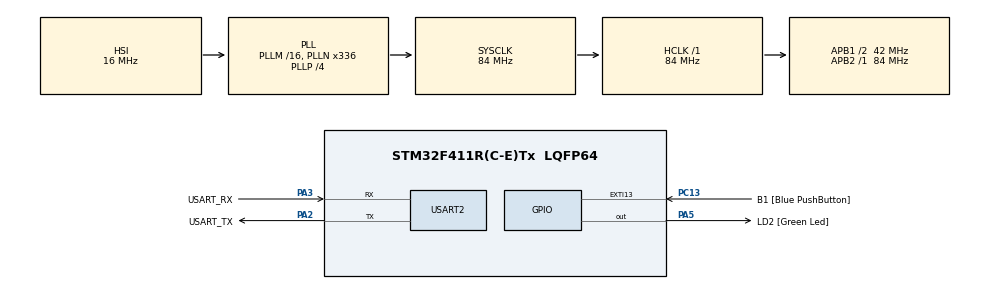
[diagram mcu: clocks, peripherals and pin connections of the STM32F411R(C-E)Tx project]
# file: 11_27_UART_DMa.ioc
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Dma.Request0=USART2_RX
Dma.USART2_RX.0.Direction=DMA_PERIPH_TO_MEMORY
Dma.USART2_RX.0.FIFOMode=DMA_FIFOMODE_DISABLE
Dma.USART2_RX.0.Instance=DMA1_Stream5
Dma.USART2_RX.0.MemDataAlignment=DMA_MDATAALIGN_BYTE
Dma.USART2_RX.0.MemInc=DMA_MINC_ENABLE
Dma.USART2_RX.0.Mode=DMA_CIRCULAR
Dma.USART2_RX.0.PeriphDataAlignment=DMA_PDATAALIGN_BYTE
Dma.USART2_RX.0.PeriphInc=DMA_PINC_DISABLE
Dma.USART2_RX.0.Priority=DMA_PRIORITY_LOW
Mcu.Family=STM32F4
Mcu.Name=STM32F411R(C-E)Tx
Mcu.Package=LQFP64
NVIC.DMA1_Stream5_IRQn=true\:0\:0\:false\:false\:true\:false\:true\:true
NVIC.PriorityGroup=NVIC_PRIORITYGROUP_0
PA13.GPIO_Label=TMS
PA13.Mode=Serial_Wire
PA13.Signal=SYS_JTMS-SWDIO
PA14.GPIO_Label=TCK
PA14.Mode=Serial_Wire
PA14.Signal=SYS_JTCK-SWCLK
PA2.GPIO_Label=USART_TX
PA2.Mode=Asynchronous
PA2.Signal=USART2_TX
PA3.GPIO_Label=USART_RX
PA3.Mode=Asynchronous
PA3.Signal=USART2_RX
PA5.GPIO_Label=LD2 [Green Led]
PA5.Signal=GPIO_Output
PB3.GPIO_Label=SWO
PB3.Signal=SYS_JTDO-SWO
PC13-ANTI_TAMP.GPIO_Label=B1 [Blue PushButton]
PC13-ANTI_TAMP.GPIO_ModeDefaultEXTI=GPIO_MODE_IT_FALLING
PC13-ANTI_TAMP.Signal=GPXTI13
PC14-OSC32_IN.Mode=LSE-External-Oscillator
PC14-OSC32_IN.Signal=RCC_OSC32_IN
PC15-OSC32_OUT.Mode=LSE-External-Oscillator
PC15-OSC32_OUT.Signal=RCC_OSC32_OUT
PH0\ -\ OSC_IN.Mode=HSE-External-Clock-Source
PH0\ -\ OSC_IN.Signal=RCC_OSC_IN
PH1\ -\ OSC_OUT.Mode=HSE-External-Clock-Source
PH1\ -\ OSC_OUT.Signal=RCC_OSC_OUT
ProjectManager.HeapSize=0x200
ProjectManager.StackSize=0x400
ProjectManager.TargetToolchain=STM32CubeIDE
RCC.48MHZClocksFreq_Value=84000000
RCC.AHBFreq_Value=84000000
RCC.APB1CLKDivider=RCC_HCLK_DIV2
RCC.APB1Freq_Value=42000000
RCC.APB1TimFreq_Value=84000000
RCC.APB2Freq_Value=84000000
RCC.APB2TimFreq_Value=84000000
RCC.CortexFreq_Value=84000000
RCC.FLatency-AdvancedSettings=FLASH_LATENCY_2
RCC.HCLKFreq_Value=84000000
RCC.HSE_VALUE=8000000
RCC.HSI_VALUE=16000000
RCC.PLLN=336
RCC.PLLP=RCC_PLLP_DIV4
RCC.SYSCLKFreq_VALUE=84000000
RCC.SYSCLKSource=RCC_SYSCLKSOURCE_PLLCLK
RCC.VCOOutputFreq_Value=336000000
USART2.VirtualMode=VM_ASYNC
board=NUCLEO-F411RE

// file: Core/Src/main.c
/* USER CODE BEGIN Header */
/**
  ******************************************************************************
  * @file           : main.c
  * @brief          : Main program body
  ******************************************************************************
  * @attention
  *
  * Copyright (c) 2024 STMicroelectronics.
  * All rights reserved.
  *
  * This software is licensed under terms that can be found in the LICENSE file
  * in the root directory of this software component.
  * If no LICENSE file comes with this software, it is provided AS-IS.
  *
  ******************************************************************************
  */
/* USER CODE END Header */
#include "main.h"
#define MAX_BUF 100

UART_HandleTypeDef huart2;
DMA_HandleTypeDef hdma_usart2_rx;

void SystemClock_Config(void);
static void MX_GPIO_Init(void);
static void MX_DMA_Init(void);
static void MX_USART2_UART_Init(void);

/* USER CODE BEGIN 0 */
char Buf[MAX_BUF];//Global variable
int head=0, tail=0;

int GetBuffer(char *bb)
{
	int ret = 0;
	tail = MAX_BUF - huart2.hdmarx->Instance->NDTR;
	if(head== tail)
		return 0;
	else if(head<tail)
	{
		memcpy(bb, Buf+head, tail-head);
		ret=tail-head;
	}//j
	else
	{
		memcpy(bb, Buf+head, MAX_BUF-head);
		memcpy(bb+MAX_BUF-head, Buf, tail);
		ret=MAX_BUF+tail-head;
	}
	tail=head;
	*(bb+ret) = 0;
	return ret;

}

/* USER CODE END 0 */

int main(void)
{

  /* MCU Configuration--------------------------------------------------------*/

  /* Reset of all peripherals, Initializes the Flash interface and the Systick. */
  HAL_Init();

  /* Configure the system clock */
  SystemClock_Config();

  /* Initialize all configured peripherals */
  MX_GPIO_Init();
  MX_DMA_Init();
  MX_USART2_UART_Init();
  /* USER CODE BEGIN 2 */
  ProgramStart("UART - DMA");
  HAL_UART_Receive_DMA(&huart2,Buf, MAX_BUF);
  /* USER CODE END 2 */

  /* Infinite loop */
  /* USER CODE BEGIN WHILE */
  char bb[100];
  while (1)
  {
    /* USER CODE END WHILE */
	  if(GetBuffer(bb)>0)
	    printf("Received Data :%s\r\n",bb);
	  HAL_Delay(1000);
  }
}

void SystemClock_Config(void)
{
  RCC_OscInitTypeDef RCC_OscInitStruct = {0};
  RCC_ClkInitTypeDef RCC_ClkInitStruct = {0};

  /** Configure the main internal regulator output voltage
  */
  __HAL_RCC_PWR_CLK_ENABLE();
  __HAL_PWR_VOLTAGESCALING_CONFIG(PWR_REGULATOR_VOLTAGE_SCALE1);

  /** Initializes the RCC Oscillators according to the specified parameters
  * in the RCC_OscInitTypeDef structure.
  */
  RCC_OscInitStruct.OscillatorType = RCC_OSCILLATORTYPE_HSI;
  RCC_OscInitStruct.HSIState = RCC_HSI_ON;
  RCC_OscInitStruct.HSICalibrationValue = RCC_HSICALIBRATION_DEFAULT;
  RCC_OscInitStruct.PLL.PLLState = RCC_PLL_ON;
  RCC_OscInitStruct.PLL.PLLSource = RCC_PLLSOURCE_HSI;
  RCC_OscInitStruct.PLL.PLLM = 16;
  RCC_OscInitStruct.PLL.PLLN = 336;
  RCC_OscInitStruct.PLL.PLLP = RCC_PLLP_DIV4;
  RCC_OscInitStruct.PLL.PLLQ = 4;
  if (HAL_RCC_OscConfig(&RCC_OscInitStruct) != HAL_OK)
  {
    Error_Handler();
  }

  /** Initializes the CPU, AHB and APB buses clocks
  */
  RCC_ClkInitStruct.ClockType = RCC_CLOCKTYPE_HCLK|RCC_CLOCKTYPE_SYSCLK
                              |RCC_CLOCKTYPE_PCLK1|RCC_CLOCKTYPE_PCLK2;
  RCC_ClkInitStruct.SYSCLKSource = RCC_SYSCLKSOURCE_PLLCLK;
  RCC_ClkInitStruct.AHBCLKDivider = RCC_SYSCLK_DIV1;
  RCC_ClkInitStruct.APB1CLKDivider = RCC_HCLK_DIV2;
  RCC_ClkInitStruct.APB2CLKDivider = RCC_HCLK_DIV1;

  if (HAL_RCC_ClockConfig(&RCC_ClkInitStruct, FLASH_LATENCY_2) != HAL_OK)
  {
    Error_Handler();
  }
}

static void MX_USART2_UART_Init(void)
{

  huart2.Instance = USART2;
  huart2.Init.BaudRate = 115200;
  huart2.Init.WordLength = UART_WORDLENGTH_8B;
  huart2.Init.StopBits = UART_STOPBITS_1;
  huart2.Init.Parity = UART_PARITY_NONE;
  huart2.Init.Mode = UART_MODE_TX_RX;
  huart2.Init.HwFlowCtl = UART_HWCONTROL_NONE;
  huart2.Init.OverSampling = UART_OVERSAMPLING_16;
  if (HAL_UART_Init(&huart2) != HAL_OK)
  {
    Error_Handler();
  }

}

static void MX_DMA_Init(void)
{

  /* DMA controller clock enable */
  __HAL_RCC_DMA1_CLK_ENABLE();

  /* DMA interrupt init */
  /* DMA1_Stream5_IRQn interrupt configuration */
  HAL_NVIC_SetPriority(DMA1_Stream5_IRQn, 0, 0);
  HAL_NVIC_EnableIRQ(DMA1_Stream5_IRQn);

}

static void MX_GPIO_Init(void)
{
  GPIO_InitTypeDef GPIO_InitStruct = {0};

  /* GPIO Ports Clock Enable */
  __HAL_RCC_GPIOC_CLK_ENABLE();
  __HAL_RCC_GPIOH_CLK_ENABLE();
  __HAL_RCC_GPIOA_CLK_ENABLE();
  __HAL_RCC_GPIOB_CLK_ENABLE();

  /*Configure GPIO pin Output Level */
  HAL_GPIO_WritePin(LD2_GPIO_Port, LD2_Pin, GPIO_PIN_RESET);

  /*Configure GPIO pin : B1_Pin */
  GPIO_InitStruct.Pin = B1_Pin;
  GPIO_InitStruct.Mode = GPIO_MODE_IT_FALLING;
  GPIO_InitStruct.Pull = GPIO_NOPULL;
  HAL_GPIO_Init(B1_GPIO_Port, &GPIO_InitStruct);

  /*Configure GPIO pin : LD2_Pin */
  GPIO_InitStruct.Pin = LD2_Pin;
  GPIO_InitStruct.Mode = GPIO_MODE_OUTPUT_PP;
  GPIO_InitStruct.Pull = GPIO_NOPULL;
  GPIO_InitStruct.Speed = GPIO_SPEED_FREQ_LOW;
  HAL_GPIO_Init(LD2_GPIO_Port, &GPIO_InitStruct);

}

void Error_Handler(void)
{
  __disable_irq();
  while (1)
  {
  }
}
